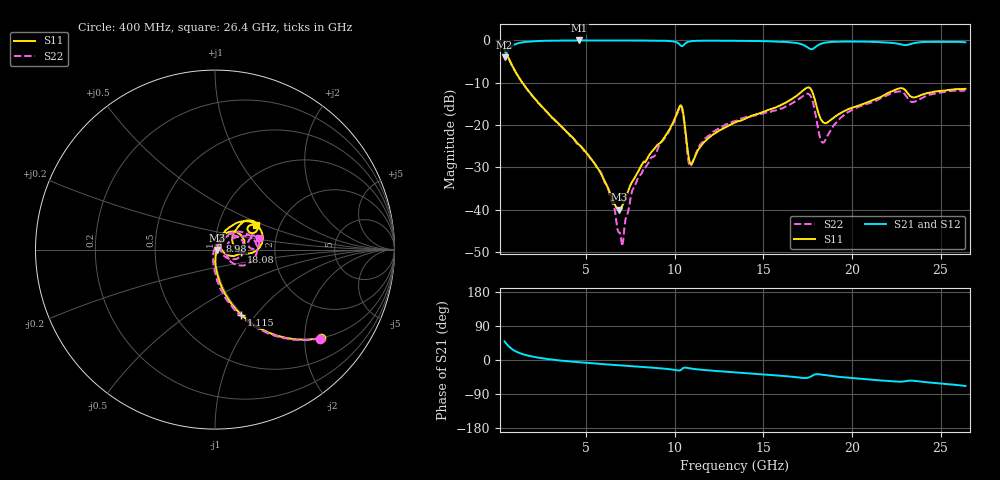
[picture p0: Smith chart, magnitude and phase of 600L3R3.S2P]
!  American Technical Ceramics  Date:  10/27/06
!  One Norden Lane
!  Huntington Station,  NY.  11746-2102
!  Tel:  (631) 622-4700  Fax:  (631) 622-4748
!  Part Number  600L3R3		Mounting Orientation:  Horizontal
!  Description: Ultra Low ESR Microwave capacitors
!  Application: Coupling, Bypass, Tuning, DC Block
!  Filters, Matching
# GHZ S DB R 50
! Freq  |S11|  S11 Ph  |S21|  S21 Ph  |S12|  S12 Ph  |S22|  S22 Ph
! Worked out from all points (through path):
!   401 points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, 400 MHz to 26.4 GHz, reference 50 ohm
!   highest |S21| = -0.03 dB at 4.625 GHz (marker M1); lowest = -4.0 dB at 400 MHz (marker M2)
!   group delay of S21, straight-line fit = 8.42 ps
!   lowest |S11| = -40.0 dB at 6.835 GHz (marker M3), VSWR 1.02, Z = 51 - j0.274 ohm
!   |S11| at or under -10 dB: 1.404 GHz to end of sweep
!   |S22| runs from -48.6 to -2.3 dB; largest |S21 - S12| = 0.0018
!   S11 on the Smith chart (normalised r, x): 400 MHz: 1.00, -2.40; 1.115 GHz: 0.98, -0.85; 8.98 GHz: 1.05, +0.11; 18.08 GHz: 1.34, -0.04; 26.4 GHz: 1.52, +0.45
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0.4  -2.28 -39.8  -3.96 49.4  -3.96 49.4  -2.31 -40.4
1.115  -8.13 -68.0  -0.75 20.9  -0.75 20.9  -8.19 -69.4
4.625  -24.73 -87.5  -0.03 -6.0  -0.03 -6.0  -24.81 -100.5
4.755  -25.25 -87.8  -0.04 -6.6  -0.04 -6.6  -25.31 -100.5
6.12  -33.85 -71.7  -0.04 -11.5  -0.04 -11.5  -34.01 -118.4
6.835  -39.98 -15.5  -0.04 -13.9  -0.04 -13.9  -45.33 -168.4
7.03  -39.10 11.0  -0.04 -14.5  -0.04 -14.5  -48.59 151.3
7.68  -32.85 46.7  -0.04 -16.7  -0.03 -16.7  -34.83 78.7
8.98  -24.89 61.8  -0.10 -21.0  -0.10 -21.0  -26.31 60.2
9.11  -24.41 60.6  -0.09 -21.4  -0.09 -21.4  -24.85 60.3
10.28  -15.57 29.2  -1.00 -27.6  -1.00 -27.5  -15.86 17.4
10.93  -29.28 20.6  -0.20 -22.6  -0.21 -22.6  -29.52 16.6
11.775  -23.56 59.2  -0.08 -26.9  -0.08 -26.9  -22.96 49.5
13.4  -19.38 62.2  -0.12 -32.6  -0.11 -32.6  -19.06 48.9
16.91  -12.99 44.8  -0.66 -45.7  -0.66 -45.7  -14.14 27.1
17.755  -12.08 2.8  -2.07 -41.4  -2.06 -41.4  -14.00 -24.4
18.08  -16.78 -5.6  -1.16 -37.4  -1.16 -37.4  -20.67 -35.2
18.405  -19.45 14.0  -0.63 -39.4  -0.63 -39.4  -24.12 3.5
19.705  -16.42 42.5  -0.29 -46.4  -0.29 -46.4  -17.14 29.7
22.11  -12.28 42.0  -0.56 -55.6  -0.56 -55.6  -12.73 19.6
23.475  -13.48 29.4  -0.68 -54.7  -0.68 -54.8  -14.55 10.5
26.4  -11.44 30.8  -0.47 -68.5  -0.47 -68.4  -11.86 14.2
